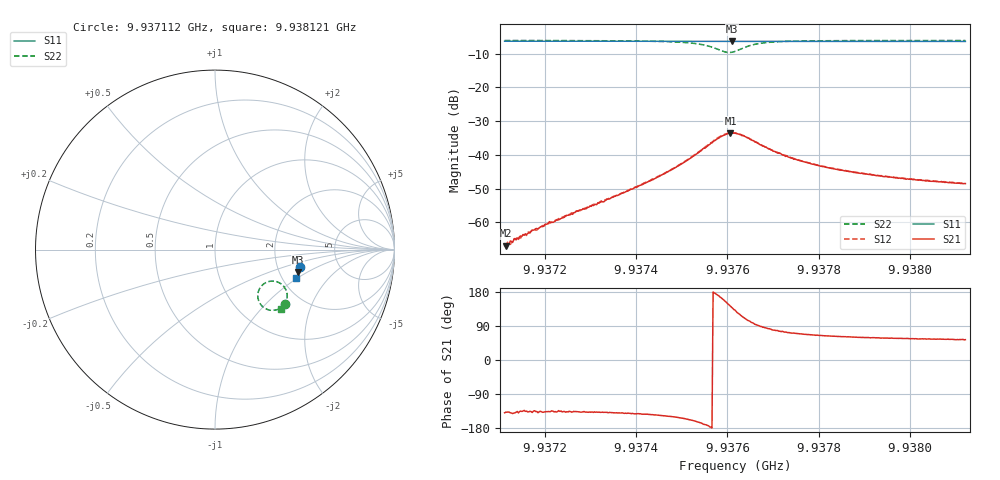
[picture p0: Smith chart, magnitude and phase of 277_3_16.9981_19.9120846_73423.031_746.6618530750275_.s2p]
#  HZ  S  RI  R  50.00
! Rohde & Schwarz Vector Network Analyzer
! Rohde-Schwarz,ZNB20-2Port,1311601062101988,3.16
! Created: UTC 3/20/2024, 11:04:26 PM
! freq[Hz]  re:S11  im:S11  re:S21  im:S21  re:S12  im:S12  re:S22  im:S22
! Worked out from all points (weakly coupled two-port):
!   401 points, 9.937112 GHz to 9.938121 GHz, reference 50 ohm
!   highest |S21| = -33.57 dB at 9.937607 GHz (marker M1); lowest = -67.0 dB at 9.937115 GHz (marker M2)
!   lowest |S11| = -6.4 dB at 9.937609 GHz (marker M3), VSWR 2.84, Z = 126 - j41.5 ohm
!   |S11| at or under -10 dB: nowhere
!   |S22| runs from -9.7 to -6.1 dB; largest |S21 - S12| = 0.00099
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9.9371122e9  0.4749 -0.0948  -0.000342 -0.000294  -0.000341 -0.000281  0.3918 -0.3043
9.9371148e9  0.4749 -0.095  -0.00033 -0.000301  -0.000351 -0.000293  0.3919 -0.3045
9.9371299e9  0.4746 -0.096  -0.00039 -0.000313  -0.000403 -0.000361  0.3906 -0.3057
9.9371349e9  0.4744 -0.0964  -0.000435 -0.000375  -0.000417 -0.000391  0.3903 -0.3061
9.9371475e9  0.4743 -0.0972  -0.000444 -0.000443  -0.000433 -0.000398  0.3893 -0.307
9.9372055e9  0.4731 -0.1011  -0.000681 -0.000646  -0.000724 -0.000655  0.3846 -0.3116
9.9372812e9  0.4717 -0.1063  -0.00113 -0.00103  -0.00116 -0.00105  0.3771 -0.3178
9.937377e9  0.4696 -0.1128  -0.00217 -0.0018  -0.00222 -0.00178  0.3632 -0.3271
9.9374502e9  0.468 -0.1179  -0.00395 -0.00267  -0.00405 -0.00266  0.3441 -0.3352
9.9375082e9  0.4664 -0.1217  -0.00726 -0.00336  -0.0074 -0.00326  0.3144 -0.3383
9.9375511e9  0.4649 -0.1245  -0.0124 -0.00209  -0.013 -0.00197  0.2716 -0.3229
9.9375839e9  0.4634 -0.126  -0.0178 0.00439  -0.018 0.00498  0.2388 -0.2641
9.9376066e9  0.4628 -0.1266  -0.0166 0.0128  -0.0164 0.0135  0.262 -0.1996
9.9376091e9  0.4627 -0.1264  -0.0159 0.0137  -0.0157 0.0144  0.2681 -0.1939
9.9376166e9  0.4629 -0.1267  -0.0139 0.0157  -0.0133 0.0165  0.2894 -0.1816
9.9376444e9  0.4632 -0.1281  -0.00453 0.0172  -0.00409 0.0175  0.3612 -0.1865
9.9376696e9  0.4633 -0.13  -3.23e-05 0.0144  0.000327 0.0145  0.3909 -0.2164
9.9377226e9  0.4624 -0.1341  0.0026 0.00957  0.0028 0.00946  0.4021 -0.2614
9.9377856e9  0.4611 -0.1383  0.00294 0.00665  0.00309 0.00666  0.3969 -0.2874
9.9378688e9  0.4591 -0.144  0.00274 0.00494  0.00285 0.00491  0.3886 -0.3051
9.9379546e9  0.4571 -0.1496  0.00252 0.00394  0.00259 0.00396  0.3813 -0.316
9.938121e9  0.4526 -0.1603  0.00221 0.00301  0.00229 0.00299  0.3689 -0.3305
